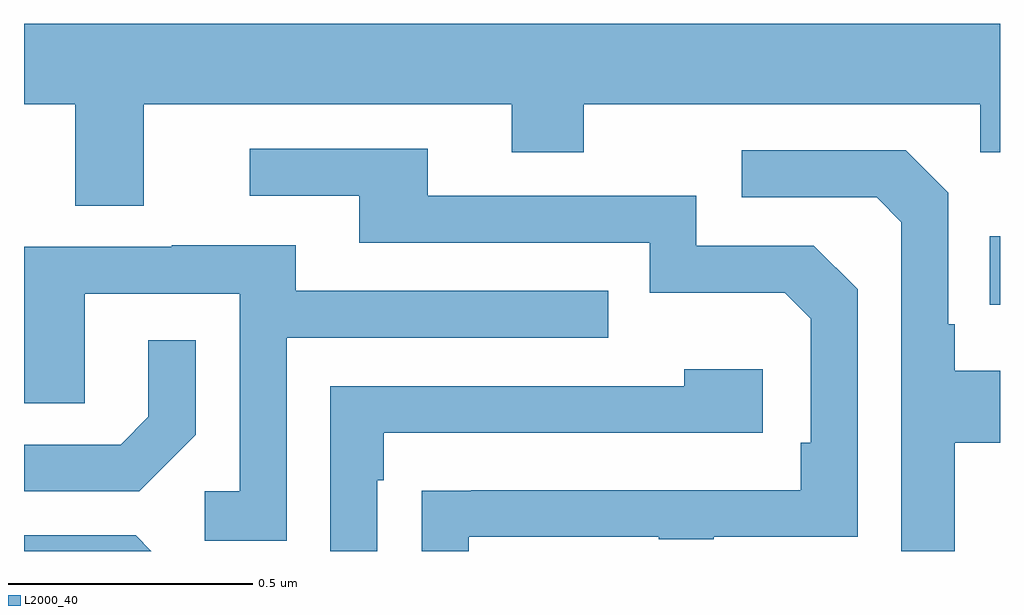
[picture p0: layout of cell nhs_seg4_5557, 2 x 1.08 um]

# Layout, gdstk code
import gdstk
lib = gdstk.Library(unit=1e-6, precision=1e-09)
def R(c, l, rs):  # rectangles x0, y0, x1, y1
    for r in rs: c.add(gdstk.rectangle(r[:2], r[2:], *l))
def P(c, l, *ps):  # polygons
    for p in ps: c.add(gdstk.Polygon(p, *l))
L2000_40 = (2000, 40)

nhs_seg4_5557 = lib.new_cell('nhs_seg4_5557')
R(nhs_seg4_5557, L2000_40, [(180.979,800.405,181,800.545)])
P(nhs_seg4_5557, L2000_40, [(179,800.816),(179.105,800.816),(179.105,800.608),(179.245,800.608),(179.245,800.816),(179.999,800.816),(179.999,800.717),(180.147,800.717),(180.147,800.816),(180.96,800.816),(180.96,800.717),(181,800.717),(181,800.98),(179,800.98)],
  [(179.911,799.929),(180.301,799.929),(180.301,799.924),(180.413,799.924),(180.413,799.929),(180.708,799.929),(180.708,800.436),(180.618,800.526),(180.378,800.526),(180.378,800.628),(179.827,800.628),(179.827,800.724),(179.463,800.724),(179.463,800.628),(179.687,800.628),(179.687,800.532),(180.282,800.532),(180.282,800.429),(180.559,800.429),(180.612,800.376),(180.612,800.122),(180.592,800.122),(180.592,800.025),(179.917,800.025),(179.917,800.024),(179.815,800.024),(179.815,799.9),(179.911,799.9)],
  [(180.907,800.122),(181,800.122),(181,800.269),(180.907,800.269),(180.907,800.365),(180.894,800.365),(180.894,800.634),(180.807,800.721),(180.471,800.721),(180.471,800.625),(180.747,800.625),(180.798,800.574),(180.798,799.9),(180.907,799.9)],
  [(179.538,800.337),(180.197,800.337),(180.197,800.433),(179.557,800.433),(179.557,800.527),(179.303,800.527),(179.303,800.523),(179,800.523),(179,800.203),(179.124,800.203),(179.124,800.427),(179.442,800.427),(179.442,800.022),(179.37,800.022),(179.37,799.921),(179.538,799.921)],
  [(179.352,800.138),(179.352,800.332),(179.255,800.332),(179.255,800.175),(179.198,800.118),(179,800.118),(179,800.022),(179.236,800.022)],
  [(179.724,800.045),(179.737,800.045),(179.737,800.142),(180.514,800.142),(180.514,800.272),(180.353,800.272),(180.353,800.238),(179.628,800.238),(179.628,799.9),(179.724,799.9)],
  [(179.229,799.932),(179,799.932),(179,799.9),(179.261,799.9)])

lib.write_gds('nhs_seg4_5557.gds')
